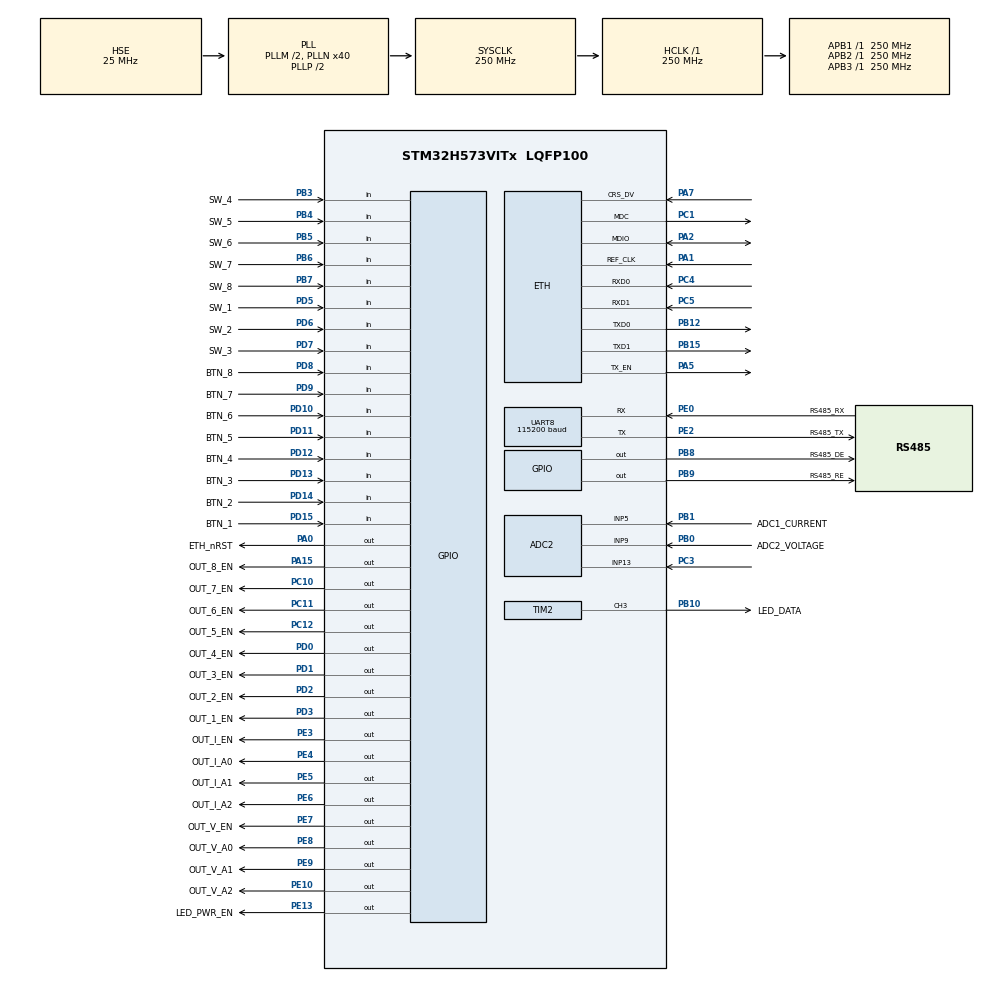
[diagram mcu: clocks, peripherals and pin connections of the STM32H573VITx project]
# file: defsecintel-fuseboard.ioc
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ADC1.Channel-1\#ChannelRegularConversion=ADC_CHANNEL_VREFINT
ADC1.Channel-2\#ChannelRegularConversion=ADC_CHANNEL_VREFINT
ADC1.Channel-3\#ChannelRegularConversion=ADC_CHANNEL_VREFINT
ADC1.Channel-4\#ChannelRegularConversion=ADC_CHANNEL_TEMPSENSOR
ADC1.ClockPrescaler=ADC_CLOCK_ASYNC_DIV4
ADC1.ContinuousConvMode=DISABLE
ADC1.DMAAccessModeView=ENABLE
ADC1.DMAContinuousRequests=ENABLE
ADC1.DiscontinuousConvMode=DISABLE
ADC1.EOCSelection=ADC_EOC_SEQ_CONV
ADC1.ExternalTrigConv=ADC_EXTERNALTRIG_T3_TRGO
ADC1.ExternalTrigConvEdge=ADC_EXTERNALTRIGCONVEDGE_RISING
ADC1.Mode=ADC_DUALMODE_REGSIMULT
ADC1.MonitoredBy-1\#ChannelRegularConversion=__NULL
ADC1.MonitoredBy-2\#ChannelRegularConversion=__NULL
ADC1.MonitoredBy-3\#ChannelRegularConversion=__NULL
ADC1.MonitoredBy-4\#ChannelRegularConversion=__NULL
ADC1.NbrOfConversion=4
ADC1.NbrOfConversionFlag=1
ADC1.OffsetNumber-1\#ChannelRegularConversion=ADC_OFFSET_NONE
ADC1.OffsetNumber-2\#ChannelRegularConversion=ADC_OFFSET_NONE
ADC1.OffsetNumber-3\#ChannelRegularConversion=ADC_OFFSET_NONE
ADC1.OffsetNumber-4\#ChannelRegularConversion=ADC_OFFSET_NONE
ADC1.Overrun=ADC_OVR_DATA_OVERWRITTEN
ADC1.OversamplingMode=ENABLE
ADC1.Rank-1\#ChannelRegularConversion=1
ADC1.Rank-2\#ChannelRegularConversion=2
ADC1.Rank-3\#ChannelRegularConversion=3
ADC1.Rank-4\#ChannelRegularConversion=4
ADC1.Ratio=ADC_OVERSAMPLING_RATIO_8
ADC1.RightBitShift=ADC_RIGHTBITSHIFT_3
ADC1.SamplingMode=ADC_SAMPLING_MODE_NORMAL
ADC1.SamplingTime-1\#ChannelRegularConversion=ADC_SAMPLETIME_247CYCLES_5
ADC1.SamplingTime-2\#ChannelRegularConversion=ADC_SAMPLETIME_247CYCLES_5
ADC1.SamplingTime-3\#ChannelRegularConversion=ADC_SAMPLETIME_247CYCLES_5
ADC1.SamplingTime-4\#ChannelRegularConversion=ADC_SAMPLETIME_247CYCLES_5
ADC1.master=1
ADC2.Channel-0\#ChannelRegularConversion=ADC_CHANNEL_9
ADC2.Channel-1\#ChannelRegularConversion=ADC_CHANNEL_5
ADC2.Channel-2\#ChannelRegularConversion=ADC_CHANNEL_13
ADC2.Channel-3\#ChannelRegularConversion=ADC_CHANNEL_5
ADC2.ClockPrescaler=ADC_CLOCK_ASYNC_DIV4
ADC2.DMAAccessModeView=ENABLE
ADC2.DMAContinuousRequests=ENABLE
ADC2.EOCSelection=ADC_EOC_SEQ_CONV
ADC2.Mode=ADC_DUALMODE_REGSIMULT
ADC2.MonitoredBy-0\#ChannelRegularConversion=__NULL
ADC2.MonitoredBy-1\#ChannelRegularConversion=__NULL
ADC2.MonitoredBy-2\#ChannelRegularConversion=__NULL
ADC2.MonitoredBy-3\#ChannelRegularConversion=__NULL
ADC2.NbrOfConversion=4
ADC2.NbrOfConversionFlag=1
ADC2.OffsetNumber-0\#ChannelRegularConversion=ADC_OFFSET_NONE
ADC2.OffsetNumber-1\#ChannelRegularConversion=ADC_OFFSET_NONE
ADC2.OffsetNumber-2\#ChannelRegularConversion=ADC_OFFSET_NONE
ADC2.OffsetNumber-3\#ChannelRegularConversion=ADC_OFFSET_NONE
ADC2.Overrun=ADC_OVR_DATA_OVERWRITTEN
ADC2.OversamplingMode=ENABLE
ADC2.Rank-0\#ChannelRegularConversion=1
ADC2.Rank-1\#ChannelRegularConversion=2
ADC2.Rank-2\#ChannelRegularConversion=3
ADC2.Rank-3\#ChannelRegularConversion=4
ADC2.Ratio=ADC_OVERSAMPLING_RATIO_8
ADC2.RightBitShift=ADC_RIGHTBITSHIFT_3
ADC2.SamplingTime-0\#ChannelRegularConversion=ADC_SAMPLETIME_247CYCLES_5
ADC2.SamplingTime-1\#ChannelRegularConversion=ADC_SAMPLETIME_247CYCLES_5
ADC2.SamplingTime-2\#ChannelRegularConversion=ADC_SAMPLETIME_247CYCLES_5
ADC2.SamplingTime-3\#ChannelRegularConversion=ADC_SAMPLETIME_247CYCLES_5
BOOTPATH.BootPathName=LEGACY
BOOTPATH.UserSelectedBootPath=LEGACY
CORTEX_M33_NS.AccessPermission-Cortex_Memory_Protection_Unit_Region0_Settings=MPU_REGION_ALL_RO
CORTEX_M33_NS.AccessPermission-Cortex_Memory_Protection_Unit_Region1_Settings=MPU_REGION_ALL_RW
CORTEX_M33_NS.AllocateAttribute-Cortex_Memory_Protection_Unit_Region0_Settings=MPU_R_ALLOCATE
CORTEX_M33_NS.AllocateAttribute-Cortex_Memory_Protection_Unit_Region1_Settings=MPU_NO_ALLOCATE
CORTEX_M33_NS.AttributesIndex-Cortex_Memory_Protection_Unit_Region1_Settings=MPU_ATTRIBUTES_NUMBER1
CORTEX_M33_NS.BaseAddress-Cortex_Memory_Protection_Unit_Region0_Settings=0x08fff800
CORTEX_M33_NS.BaseAddress-Cortex_Memory_Protection_Unit_Region1_Settings=0x9000000
CORTEX_M33_NS.DisableExec-Cortex_Memory_Protection_Unit_Region0_Settings=MPU_INSTRUCTION_ACCESS_DISABLE
CORTEX_M33_NS.DisableExec-Cortex_Memory_Protection_Unit_Region1_Settings=MPU_INSTRUCTION_ACCESS_DISABLE
CORTEX_M33_NS.Enable-Cortex_Memory_Protection_Unit_Region0_Settings=MPU_REGION_ENABLE
CORTEX_M33_NS.Enable-Cortex_Memory_Protection_Unit_Region1_Settings=MPU_REGION_ENABLE
CORTEX_M33_NS.IsShareable-Cortex_Memory_Protection_Unit_Region0_Settings=MPU_ACCESS_OUTER_SHAREABLE
CORTEX_M33_NS.LimitAddress-Cortex_Memory_Protection_Unit_Region0_Settings=0x08fff900
CORTEX_M33_NS.LimitAddress-Cortex_Memory_Protection_Unit_Region1_Settings=0x9017FFF
CORTEX_M33_NS.MPU_Control=MPU_PRIVILEGED_DEFAULT
CORTEX_M33_NS.TransientAttribute-Cortex_Memory_Protection_Unit_Region1_Settings=MPU_NON_TRANSIENT
CORTEX_M33_NS.userName=CORTEX_M33
CRC.InputDataFormat=CRC_INPUTDATA_FORMAT_WORDS
ETH.ETH_RX_DESC_CNT=16
ETH.ETH_TX_DESC_CNT=16
ETH.MACAddr=04\:7B\:CB\:96\:6B\:A4
ETH.MediaInterface=HAL_ETH_RMII_MODE
FLASH.B1_BLOCK_active=true
FLASH.B1_endSector=127
FLASH.B1_startSector=120
FLASH.B2_BLOCK_active=true
FLASH.B2_Bank=FLASH_BANK_2
FLASH.B2_endSector=127
FLASH.B2_startSector=120
FLASH.EDATA1size=8
FLASH.EDATA2size=8
FLASH.OB_EDATA1_active=true
FLASH.OB_EDATA2_active=true
FLASH.OB_OTP_LOCK_active=false
GPDMA1.CIRCULARMODE_GPDMACH0=ENABLE
GPDMA1.CIRCULARMODE_GPDMACH1=ENABLE
GPDMA1.CIRCULARMODE_GPDMACH2=ENABLE
GPDMA1.CIRCULARMODE_GPDMACH3=DISABLE
GPDMA1.ChannelPRIV_GPDMACH0=DMA_CHANNEL_NPRIV
GPDMA1.DATAHANDLING_GPDMACH3=ENABLE
GPDMA1.DESTDATAWIDTH_GPDMACH0=DMA_DEST_DATAWIDTH_BYTE
GPDMA1.DESTDATAWIDTH_GPDMACH1=DMA_DEST_DATAWIDTH_WORD
GPDMA1.DESTDATAWIDTH_GPDMACH3=DMA_DEST_DATAWIDTH_WORD
GPDMA1.DESTINC_GPDMACH1=DMA_DINC_INCREMENTED
GPDMA1.DESTINC_GPDMACH3=DMA_DINC_INCREMENTED
GPDMA1.DIRECTION_GPDMACH0=DMA_MEMORY_TO_PERIPH
GPDMA1.IPHANDLE_GPDMACH0-SIMPLEREQUEST_GPDMACH0=__NULL
GPDMA1.IPHANDLE_GPDMACH1-SIMPLEREQUEST_GPDMACH1=__NULL
GPDMA1.IPHANDLE_GPDMACH2-SIMPLEREQUEST_GPDMACH2=__NULL
GPDMA1.PRIORITY_GPDMACH3=DMA_LOW_PRIORITY_MID_WEIGHT
GPDMA1.PRIORITY_LL_CIRCULAR_GPDMACH0=DMA_LOW_PRIORITY_HIGH_WEIGHT
GPDMA1.REQUEST_GPDMACH0=GPDMA1_REQUEST_TIM2_CH3
GPDMA1.REQUEST_GPDMACH1=GPDMA1_REQUEST_ADC1
GPDMA1.REQUEST_GPDMACH2=GPDMA1_REQUEST_ADC2
GPDMA1.SRCDATAWIDTH_GPDMACH0=DMA_SRC_DATAWIDTH_BYTE
GPDMA1.SRCDATAWIDTH_GPDMACH1=DMA_SRC_DATAWIDTH_WORD
GPDMA1.SRCDATAWIDTH_GPDMACH3=DMA_SRC_DATAWIDTH_WORD
GPDMA1.SRCINC_GPDMACH0=DMA_SINC_INCREMENTED
GPDMA1.SRCINC_GPDMACH3=DMA_SINC_INCREMENTED
GPDMA1.TRANSFERALLOCATEDPORTDEST_GPDMACH3=DMA_DEST_ALLOCATED_PORT1
GPDMA1.TRANSFERALLOCATEDPORTSRC_GPDMACH3=DMA_SRC_ALLOCATED_PORT1
GPDMA1.TRIGGERPOLARITY_GPDMACH3=DMA_TRIG_POLARITY_MASKED
Mcu.Family=STM32H5
Mcu.Name=STM32H573VITx
Mcu.Package=LQFP100
NETXDUO.ETH_ON=1
NETXDUO.Initialize_ICMP_protocol=true
NETXDUO.Initialize_TCP_protocol=true
NETXDUO.LAN_8742=1
NETXDUO.NX_APP_IP_INSTANCE_THREAD_SIZE=2*1024
NETXDUO.NX_APP_MEM_POOL_SIZE=40960
NETXDUO.NX_APP_PACKET_POOL_SIZE=10
NETXDUO.NX_APP_THREAD_STACK_SIZE=2*1024
NETXDUO.NX_DISABLE_IP_RX_CHECKSUM=false
NETXDUO.NX_DISABLE_RX_SIZE_CHECKING=false
NETXDUO.NX_DISABLE_UDP_RX_CHECKSUM=false
NETXDUO.NX_DISABLE_UDP_TX_CHECKSUM=false
NETXDUO.NX_ENABLE_TCP_KEEPALIVE=true
NETXDUO.NX_TCP_KEEPALIVE_INITIAL=120
NETXDUO.NX_TCP_KEEPALIVE_RETRY=120
NETXDUO.NetXDuo_Application_Thread_Name=App_Main_Thread_Entry
NETXDUO.NetXDuo_Generate_Init_Code=true
NVIC.ETH_IRQn=true\:5\:0\:true\:false\:true\:false\:true\:true\:true
NVIC.FLASH_IRQn=true\:8\:0\:true\:false\:true\:false\:true\:true\:true
NVIC.GPDMA1_Channel0_IRQn=true\:0\:0\:true\:false\:true\:true\:false\:true\:true
NVIC.GPDMA1_Channel1_IRQn=true\:0\:0\:true\:false\:true\:true\:false\:true\:true
NVIC.GPDMA1_Channel2_IRQn=true\:0\:0\:false\:false\:true\:true\:false\:true\:true
NVIC.PriorityGroup=NVIC_PRIORITYGROUP_4
NVIC.TIM3_IRQn=true\:5\:0\:true\:false\:true\:false\:true\:true\:true
NVIC.TIM6_IRQn=true\:15\:0\:true\:false\:true\:false\:false\:true\:true
NVIC.TimeBase=TIM6_IRQn
NVIC.TimeBaseIP=TIM6
NVIC.UART8_IRQn=true\:6\:0\:true\:false\:true\:false\:true\:true\:true
NVIC.WWDG_IRQn=true\:0\:0\:false\:false\:true\:false\:true\:true\:true
NetXDuo.BSP.number=1
NetXDuo0.BSP.STBoard=false
NetXDuo0.BSP.api=BSP_COMPONENT_DRIVER
NetXDuo0.BSP.component=lan8742
NetXDuo0.BSP.instance=lan8742
NetXDuo0.BSP.name=LAN_Component
NetXDuo0.BSP.semaphore=SEMA_lan8742
NetXDuo0.BSP.solution=lan8742
PA0.GPIO_Label=ETH_nRST
PA0.PinState=GPIO_PIN_RESET
PA0.Signal=GPIO_Output
PA1.GPIO_Speed_Default_HIGH=GPIO_SPEED_FREQ_VERY_HIGH
PA1.Mode=RMII
PA1.Signal=ETH_REF_CLK
PA13(JTMS/SWDIO).Mode=Serial_Wire
PA13(JTMS/SWDIO).Signal=DEBUG_JTMS-SWDIO
PA14(JTCK/SWCLK).Mode=Serial_Wire
PA14(JTCK/SWCLK).Signal=DEBUG_JTCK-SWCLK
PA15(JTDI).GPIO_Label=OUT_8_EN
PA15(JTDI).GPIO_ModeDefaultOutputPP=GPIO_MODE_OUTPUT_PP
PA15(JTDI).GPIO_PuPd=GPIO_NOPULL
PA15(JTDI).GPIO_Speed=GPIO_SPEED_FREQ_LOW
PA15(JTDI).PinState=GPIO_PIN_RESET
PA15(JTDI).Signal=GPIO_Output
PA2.GPIO_Speed_Default_HIGH=GPIO_SPEED_FREQ_VERY_HIGH
PA2.Mode=RMII
PA2.Signal=ETH_MDIO
PA5.GPIO_PuPd=GPIO_NOPULL
PA5.GPIO_Speed_Default_HIGH=GPIO_SPEED_FREQ_VERY_HIGH
PA5.Mode=RMII
PA5.Signal=ETH_TX_EN
PA7.GPIO_PuPd=GPIO_NOPULL
PA7.GPIO_Speed_Default_HIGH=GPIO_SPEED_FREQ_VERY_HIGH
PA7.Mode=RMII
PA7.Signal=ETH_CRS_DV
PB0.GPIO_Label=ADC2_VOLTAGE
PB0.Signal=SharedAnalog_PB0
PB1.GPIO_Label=ADC1_CURRENT
PB1.Signal=ADCx_INP5
PB10.GPIO_Label=LED_DATA
PB10.GPIO_PuPd=GPIO_NOPULL
PB10.GPIO_Speed=GPIO_SPEED_FREQ_LOW
PB10.Signal=S_TIM2_CH3
PB12.GPIO_PuPd=GPIO_NOPULL
PB12.GPIO_Speed_Default_HIGH=GPIO_SPEED_FREQ_VERY_HIGH
PB12.Mode=RMII
PB12.Signal=ETH_TXD0
PB15.GPIO_PuPd=GPIO_NOPULL
PB15.GPIO_Speed_Default_HIGH=GPIO_SPEED_FREQ_VERY_HIGH
PB15.Mode=RMII
PB15.Signal=ETH_TXD1
PB3(JTDO/TRACESWO).GPIO_Label=SW_4
PB3(JTDO/TRACESWO).GPIO_Mode=GPIO_MODE_INPUT
PB3(JTDO/TRACESWO).GPIO_PuPd=GPIO_PULLDOWN
PB3(JTDO/TRACESWO).PinAttribute=Free
PB3(JTDO/TRACESWO).Signal=GPIO_Input
PB4(NJTRST).GPIO_Label=SW_5
PB4(NJTRST).GPIO_Mode=GPIO_MODE_INPUT
PB4(NJTRST).GPIO_PuPd=GPIO_PULLDOWN
PB4(NJTRST).PinAttribute=Free
PB4(NJTRST).Signal=GPIO_Input
PB5.GPIO_Label=SW_6
PB5.GPIO_Mode=GPIO_MODE_INPUT
PB5.GPIO_PuPd=GPIO_PULLDOWN
PB5.PinAttribute=Free
PB5.Signal=GPIO_Input
PB6.GPIO_Label=SW_7
PB6.GPIO_Mode=GPIO_MODE_INPUT
PB6.GPIO_PuPd=GPIO_PULLDOWN
PB6.PinAttribute=Free
PB6.Signal=GPIO_Input
PB7.GPIO_Label=SW_8
PB7.GPIO_Mode=GPIO_MODE_INPUT
PB7.GPIO_PuPd=GPIO_PULLDOWN
PB7.PinAttribute=Free
PB7.Signal=GPIO_Input
PB8.GPIO_Label=RS485_DE
PB8.Signal=GPIO_Output
PB9.GPIO_Label=RS485_RE
PB9.PinAttribute=Free
PB9.Signal=GPIO_Output
PC1.GPIO_Speed_Default_HIGH=GPIO_SPEED_FREQ_VERY_HIGH
PC1.Mode=RMII
PC1.Signal=ETH_MDC
PC10.GPIO_Label=OUT_7_EN
PC10.GPIO_ModeDefaultOutputPP=GPIO_MODE_OUTPUT_PP
PC10.GPIO_PuPd=GPIO_NOPULL
PC10.GPIO_Speed=GPIO_SPEED_FREQ_LOW
PC10.PinState=GPIO_PIN_RESET
PC10.Signal=GPIO_Output
PC11.GPIO_Label=OUT_6_EN
PC11.GPIO_ModeDefaultOutputPP=GPIO_MODE_OUTPUT_PP
PC11.GPIO_PuPd=GPIO_NOPULL
PC11.GPIO_Speed=GPIO_SPEED_FREQ_LOW
PC11.PinState=GPIO_PIN_RESET
PC11.Signal=GPIO_Output
PC12.GPIO_Label=OUT_5_EN
PC12.GPIO_ModeDefaultOutputPP=GPIO_MODE_OUTPUT_PP
PC12.GPIO_PuPd=GPIO_NOPULL
PC12.GPIO_Speed=GPIO_SPEED_FREQ_LOW
PC12.PinState=GPIO_PIN_RESET
PC12.Signal=GPIO_Output
PC3.Signal=SharedAnalog_PC3
PC4.GPIO_PuPd=GPIO_NOPULL
PC4.GPIO_Speed_Default_HIGH=GPIO_SPEED_FREQ_VERY_HIGH
PC4.Mode=RMII
PC4.Signal=ETH_RXD0
PC5.GPIO_PuPd=GPIO_NOPULL
PC5.GPIO_Speed_Default_HIGH=GPIO_SPEED_FREQ_VERY_HIGH
PC5.Mode=RMII
PC5.Signal=ETH_RXD1
PD0.GPIO_Label=OUT_4_EN
PD0.GPIO_ModeDefaultOutputPP=GPIO_MODE_OUTPUT_PP
PD0.GPIO_PuPd=GPIO_NOPULL
PD0.GPIO_Speed=GPIO_SPEED_FREQ_LOW
PD0.PinState=GPIO_PIN_RESET
PD0.Signal=GPIO_Output
PD1.GPIO_Label=OUT_3_EN
PD1.GPIO_ModeDefaultOutputPP=GPIO_MODE_OUTPUT_PP
PD1.GPIO_PuPd=GPIO_NOPULL
PD1.GPIO_Speed=GPIO_SPEED_FREQ_LOW
PD1.PinState=GPIO_PIN_RESET
PD1.Signal=GPIO_Output
PD10.GPIO_Label=BTN_6
PD10.GPIO_Mode=GPIO_MODE_INPUT
PD10.GPIO_PuPd=GPIO_PULLDOWN
PD10.Signal=GPIO_Input
PD11.GPIO_Label=BTN_5
PD11.GPIO_Mode=GPIO_MODE_INPUT
PD11.GPIO_PuPd=GPIO_PULLDOWN
PD11.Signal=GPIO_Input
PD12.GPIO_Label=BTN_4
PD12.GPIO_Mode=GPIO_MODE_INPUT
PD12.GPIO_PuPd=GPIO_PULLDOWN
PD12.Signal=GPIO_Input
PD13.GPIO_Label=BTN_3
PD13.GPIO_Mode=GPIO_MODE_INPUT
PD13.GPIO_PuPd=GPIO_PULLDOWN
PD13.Signal=GPIO_Input
PD14.GPIO_Label=BTN_2
PD14.GPIO_Mode=GPIO_MODE_INPUT
PD14.GPIO_PuPd=GPIO_PULLDOWN
PD14.Signal=GPIO_Input
PD15.GPIO_Label=BTN_1
PD15.GPIO_Mode=GPIO_MODE_INPUT
PD15.GPIO_PuPd=GPIO_PULLDOWN
PD15.Signal=GPIO_Input
PD2.GPIO_Label=OUT_2_EN
PD2.GPIO_ModeDefaultOutputPP=GPIO_MODE_OUTPUT_PP
PD2.GPIO_PuPd=GPIO_NOPULL
PD2.GPIO_Speed=GPIO_SPEED_FREQ_LOW
PD2.PinAttribute=Free
PD2.PinState=GPIO_PIN_RESET
PD2.Signal=GPIO_Output
PD3.GPIO_Label=OUT_1_EN
PD3.PinAttribute=Free
PD3.Signal=GPIO_Output
PD5.GPIO_Label=SW_1
PD5.GPIO_Mode=GPIO_MODE_INPUT
PD5.GPIO_PuPd=GPIO_PULLDOWN
PD5.PinAttribute=Free
PD5.Signal=GPIO_Input
PD6.GPIO_Label=SW_2
PD6.GPIO_Mode=GPIO_MODE_INPUT
PD6.GPIO_PuPd=GPIO_PULLDOWN
PD6.PinAttribute=Free
PD6.Signal=GPIO_Input
PD7.GPIO_Label=SW_3
PD7.GPIO_Mode=GPIO_MODE_INPUT
PD7.GPIO_PuPd=GPIO_PULLDOWN
PD7.PinAttribute=Free
PD7.Signal=GPIO_Input
PD8.GPIO_Label=BTN_8
PD8.GPIO_Mode=GPIO_MODE_INPUT
PD8.GPIO_PuPd=GPIO_PULLDOWN
PD8.Signal=GPIO_Input
PD9.GPIO_Label=BTN_7
PD9.GPIO_Mode=GPIO_MODE_INPUT
PD9.GPIO_PuPd=GPIO_PULLDOWN
PD9.Signal=GPIO_Input
PE0.GPIO_Label=RS485_RX
PE0.GPIO_PuPd=GPIO_PULLUP
PE0.GPIO_Speed=GPIO_SPEED_FREQ_LOW
PE0.Mode=Asynchronous
PE0.PinAttribute=Free
PE0.Signal=UART8_RX
PE10.GPIO_Label=OUT_V_A2
PE10.GPIO_ModeDefaultOutputPP=GPIO_MODE_OUTPUT_PP
PE10.GPIO_PuPd=GPIO_PULLDOWN
PE10.GPIO_Speed=GPIO_SPEED_FREQ_LOW
PE10.PinState=GPIO_PIN_RESET
PE10.Signal=GPIO_Output
PE13.GPIO_Label=LED_PWR_EN
PE13.PinState=GPIO_PIN_SET
PE13.Signal=GPIO_Output
PE2.GPIO_Label=RS485_TX
PE2.GPIO_PuPd=GPIO_PULLUP
PE2.GPIO_Speed=GPIO_SPEED_FREQ_LOW
PE2.Mode=Asynchronous
PE2.Signal=UART8_TX
PE3.GPIO_Label=OUT_I_EN
PE3.GPIO_ModeDefaultOutputPP=GPIO_MODE_OUTPUT_PP
PE3.GPIO_PuPd=GPIO_PULLDOWN
PE3.GPIO_Speed=GPIO_SPEED_FREQ_LOW
PE3.PinState=GPIO_PIN_RESET
PE3.Signal=GPIO_Output
PE4.GPIO_Label=OUT_I_A0
PE4.GPIO_ModeDefaultOutputPP=GPIO_MODE_OUTPUT_PP
PE4.GPIO_PuPd=GPIO_PULLDOWN
PE4.GPIO_Speed=GPIO_SPEED_FREQ_LOW
PE4.PinState=GPIO_PIN_RESET
PE4.Signal=GPIO_Output
PE5.GPIO_Label=OUT_I_A1
PE5.GPIO_ModeDefaultOutputPP=GPIO_MODE_OUTPUT_PP
PE5.GPIO_PuPd=GPIO_PULLDOWN
PE5.GPIO_Speed=GPIO_SPEED_FREQ_LOW
PE5.PinState=GPIO_PIN_RESET
PE5.Signal=GPIO_Output
PE6.GPIO_Label=OUT_I_A2
PE6.GPIO_ModeDefaultOutputPP=GPIO_MODE_OUTPUT_PP
PE6.GPIO_PuPd=GPIO_PULLDOWN
PE6.GPIO_Speed=GPIO_SPEED_FREQ_LOW
PE6.PinState=GPIO_PIN_RESET
PE6.Signal=GPIO_Output
PE7.GPIO_Label=OUT_V_EN
PE7.GPIO_ModeDefaultOutputPP=GPIO_MODE_OUTPUT_PP
PE7.GPIO_PuPd=GPIO_PULLDOWN
PE7.GPIO_Speed=GPIO_SPEED_FREQ_LOW
PE7.PinState=GPIO_PIN_RESET
PE7.Signal=GPIO_Output
PE8.GPIO_Label=OUT_V_A0
PE8.GPIO_ModeDefaultOutputPP=GPIO_MODE_OUTPUT_PP
PE8.GPIO_PuPd=GPIO_PULLDOWN
PE8.GPIO_Speed=GPIO_SPEED_FREQ_LOW
PE8.PinState=GPIO_PIN_RESET
PE8.Signal=GPIO_Output
PE9.GPIO_Label=OUT_V_A1
PE9.GPIO_ModeDefaultOutputPP=GPIO_MODE_OUTPUT_PP
PE9.GPIO_PuPd=GPIO_PULLDOWN
PE9.GPIO_Speed=GPIO_SPEED_FREQ_LOW
PE9.PinState=GPIO_PIN_RESET
PE9.Signal=GPIO_Output
PH0-OSC_IN(PH0).Mode=HSE-External-Oscillator
PH0-OSC_IN(PH0).Signal=RCC_OSC_IN
PH1-OSC_OUT(PH1).Mode=HSE-External-Oscillator
PH1-OSC_OUT(PH1).Signal=RCC_OSC_OUT
ProjectManager.HeapSize=0x400
ProjectManager.StackSize=0x800
ProjectManager.TargetToolchain=STM32CubeIDE
RCC.ADCCLockSelection=RCC_ADCDACCLKSOURCE_HSE
RCC.ADCFreq_Value=25000000
RCC.AHBFreq_Value=250000000
RCC.APB1Freq_Value=250000000
RCC.APB1TimFreq_Value=250000000
RCC.APB2Freq_Value=250000000
RCC.APB2TimFreq_Value=250000000
RCC.APB3Freq_Value=250000000
RCC.CSI_VALUE=4000000
RCC.CortexFreq_Value=250000000
RCC.EPOD_VALUE=25000000
RCC.FLatency-AdvancedSettings=FLASH_LATENCY_5
RCC.HCLKFreq_Value=250000000
RCC.HSE_VALUE=25000000
RCC.HSI48_VALUE=48000000
RCC.HSI_VALUE=64000000
RCC.LSE_VALUE=32768
RCC.LSIRC_VALUE=32000
RCC.PLL1Q=10
RCC.PLL2FRACN=0
RCC.PLL2M=2
RCC.PLL2N=40
RCC.PLL2R=80
RCC.PLL2Source=RCC_PLL2_SOURCE_HSE
RCC.PLL2_VCI_Range-AdvancedSettings=RCC_PLL2_VCIRANGE_0
RCC.PLL3FRACN=0
RCC.PLL3M=2
RCC.PLL3N=40
RCC.PLL3Source=RCC_PLL3_SOURCE_HSE
RCC.PLLFRACN=0
RCC.PLLM=2
RCC.PLLN=40
RCC.PLLSourceVirtual=RCC_PLL1_SOURCE_HSE
RCC.SYSCLKFreq_VALUE=250000000
RCC.SYSCLKSource=RCC_SYSCLKSOURCE_PLLCLK
RCC.USBFreq_Value=48000000
RCC.VCOOutputFreq_Value=500000000
SH.ADCx_INP5.0=ADC1_INP5
SH.ADCx_INP5.1=ADC2_INP5,IN5-Single-Ended
SH.S_TIM2_CH3.0=TIM2_CH3,PWM Generation3 CH3
SH.SharedAnalog_PB0.0=ADC1_INP9
SH.SharedAnalog_PB0.1=ADC1_INN5
SH.SharedAnalog_PB0.2=ADC2_INP9,IN9-Single-Ended
SH.SharedAnalog_PC3.0=ADC2_INN12
SH.SharedAnalog_PC3.1=ADC2_INP13,IN13-Single-Ended
THREADX.TX_APP_CREATION=0
THREADX.TX_APP_GENERATE_INIT_CODE=true
THREADX.TX_APP_MEM_POOL_SIZE=40960
THREADX.TX_APP_MSG_QUEUE_CREATION=0
THREADX.TX_APP_STACK_SIZE=2*1024
THREADX.TX_APP_THREAD_ENTRY=App_Main_Thread_Entry
THREADX.TX_TIMER_TICKS_PER_SECOND=1000
TIM2.AutoReloadPreload=TIM_AUTORELOAD_PRELOAD_ENABLE
TIM2.Channel-PWM\ Generation3\ CH3=TIM_CHANNEL_3
TIM2.Dithering=Disable
TIM2.OC3Preload_PWM=ENABLE
TIM2.OCFastMode_PWM-PWM\ Generation3\ CH3=TIM_OCFAST_DISABLE
TIM2.OCPolarity_3=TIM_OCPOLARITY_HIGH
TIM2.PeriodNoDither=155
TIM2.Prescaler=1
TIM2.PulseNoDither_3=0
TIM3.PeriodNoDither=9
TIM3.TIM_MasterOutputTrigger=TIM_TRGO_UPDATE
UART8.BaudRate=115200
UART8.DMADisableonRxErrorParam=UART_ADVFEATURE_DMA_ENABLEONRXERROR
UART8.FIFOMode=FIFOMODE_ENABLE
UART8.OneBitSampling=UART_ONE_BIT_SAMPLE_ENABLE
UART8.OverrunDisableParam=UART_ADVFEATURE_OVERRUN_ENABLE
UART8.Parity=PARITY_NONE
UART8.RXFIFOThreshold=RXFIFO_THRESHOLD_FULL
UART8.RxPinLevelInvertParam=UART_ADVFEATURE_RXINV_DISABLE
UART8.SwapParam=UART_ADVFEATURE_SWAP_DISABLE
UART8.TXFIFOThreshold=TXFIFO_THRESHOLD_EMPTY
UART8.TxPinLevelInvertParam=UART_ADVFEATURE_TXINV_DISABLE
UART8.WordLength=WORDLENGTH_8B
VP_ADC1_TempSens_Input.Mode=IN-TempSens
VP_ADC1_Vref_Input.Mode=IN-Vrefint
VP_BOOTPATH_VS_BOOTPATH.Mode=BP_Activate
VP_CORTEX_M33_NS_VS_Hclk.Mode=Hclk_Mode
VP_CRC_VS_CRC.Mode=CRC_Activate
VP_FLASH_SIG_Activate_FlashIP.Mode=Activate_FlashIP
VP_GPDMA1_VS_GPDMACH0.Mode=SIMPLEREQUEST_GPDMACH0
VP_GPDMA1_VS_GPDMACH1.Mode=SIMPLEREQUEST_GPDMACH1
VP_GPDMA1_VS_GPDMACH2.Mode=SIMPLEREQUEST_GPDMACH2
VP_ICACHE_VS_ICACHE.Mode=DefaultMode
VP_MEMORYMAP_VS_MEMORYMAP.Mode=CurAppReg
VP_NETXDUO_VS_AddonsOoDHCP.Mode=Addons_DHCP_Client
VP_NETXDUO_VS_AddonsOomDNS.Mode=Addons_mDNS
VP_NETXDUO_VS_EthernetOoPhyOoInterface.Mode=LAN8742_Phy_Interface
VP_NETXDUO_VS_NXOoCore.Mode=NX_Core
VP_NETXDUO_VS_NetworkOoInterface.Mode=Ethernet_Interface
VP_PWR_VS_DBSignals.Mode=DisableDeadBatterySignals
VP_PWR_VS_LPOM.Mode=PowerOptimisation
VP_PWR_VS_SECSignals.Mode=Security/Privilege
VP_SYS_VS_tim6.Mode=TIM6
VP_THREADX_VS_RTOSJjThreadXJjCoreJjDefault.Mode=Core_Default
VP_TIM2_VS_ClockSourceINT.Mode=Internal
VP_TIM3_VS_ClockSourceINT.Mode=Internal
VP_TIM3_VS_OPM.Mode=OPM_bit
VP_VREFBUF_V_VREFBUF.Mode=ExternalMode
VP_WWDG_VS_WWDG.Mode=WWDG_Activate
WWDG.Counter=127
WWDG.EWIMode=WWDG_EWI_ENABLE
WWDG.Prescaler=WWDG_PRESCALER_64
WWDG.Window=94
board=custom

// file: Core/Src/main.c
/* USER CODE BEGIN Header */
/**
  ******************************************************************************
  * @file           : main.c
  * @brief          : Main program body
  ******************************************************************************
  * @attention
  *
  * Copyright (c) 2024 STMicroelectronics.
  * All rights reserved.
  *
  * This software is licensed under terms that can be found in the LICENSE file
  * in the root directory of this software component.
  * If no LICENSE file comes with this software, it is provided AS-IS.
  *
  ******************************************************************************
  */
/* USER CODE END Header */
#include "app_threadx.h"
#include "main.h"
#include "string.h"

/* USER CODE BEGIN Includes */
#include <stdbool.h>
#include <inttypes.h>
#include "dp_info.h"
#include "watchdog.h"
#include "crc.h"
#include "log.h"
/* USER CODE END Includes */

ETH_TxPacketConfigTypeDef TxConfig;
ETH_DMADescTypeDef  DMARxDscrTab[ETH_RX_DESC_CNT]; /* Ethernet Rx DMA Descriptors */
ETH_DMADescTypeDef  DMATxDscrTab[ETH_TX_DESC_CNT]; /* Ethernet Tx DMA Descriptors */

ADC_HandleTypeDef hadc1;
ADC_HandleTypeDef hadc2;
DMA_NodeTypeDef Node_GPDMA1_Channel1;
DMA_QListTypeDef List_GPDMA1_Channel1;
DMA_HandleTypeDef handle_GPDMA1_Channel1;
DMA_NodeTypeDef Node_GPDMA1_Channel2;
DMA_QListTypeDef List_GPDMA1_Channel2;
DMA_HandleTypeDef handle_GPDMA1_Channel2;

CRC_HandleTypeDef hcrc;

ETH_HandleTypeDef heth;

TIM_HandleTypeDef htim2;
TIM_HandleTypeDef htim3;
DMA_NodeTypeDef Node_GPDMA1_Channel0;
DMA_QListTypeDef List_GPDMA1_Channel0;
DMA_HandleTypeDef handle_GPDMA1_Channel0;

WWDG_HandleTypeDef hwwdg;

void SystemClock_Config(void);
static void MPU_Config(void);
static void MX_GPIO_Init(void);
static void MX_GPDMA1_Init(void);
static void MX_ETH_Init(void);
static void MX_TIM2_Init(void);
static void MX_ICACHE_Init(void);
static void MX_UART8_Init(void);
static void MX_ADC1_Init(void);
static void MX_ADC2_Init(void);
static void MX_TIM3_Init(void);
static void MX_CRC_Init(void);
static void MX_FLASH_Init(void);
static void MX_WWDG_Init(void);

int main(void)
{

  /* USER CODE BEGIN 1 */

  /* Try to read device info from OTP memory */
  dp_init_device_info();
  log_init();

  /* USER CODE END 1 */

  /* MCU Configuration--------------------------------------------------------*/

  /* MPU Configuration--------------------------------------------------------*/
  MPU_Config();

  /* Reset of all peripherals, Initializes the Flash interface and the Systick. */
  HAL_Init();

  /* Configure the system clock */
  SystemClock_Config();

  /* Initialize all configured peripherals */
  MX_GPIO_Init();
  MX_GPDMA1_Init();
  MX_ETH_Init();
  MX_TIM2_Init();
  MX_ICACHE_Init();
  MX_UART8_Init();
  MX_ADC1_Init();
  MX_ADC2_Init();
  MX_TIM3_Init();
  MX_CRC_Init();
  MX_FLASH_Init();
  MX_WWDG_Init();
  /* USER CODE BEGIN 2 */
  crc_gen_init();

  /* Print device info */
  ULOG_DEBUG("S/N: %" PRIu32 ", HW: %" PRIu32 ", MAC: %02X:%02X:%02X:%02X:%02X:%02X",
      dp_get_serial_number(), (uint32_t)dp_get_hw_revision(),
      heth.Init.MACAddr[0], heth.Init.MACAddr[1], heth.Init.MACAddr[2],
      heth.Init.MACAddr[3], heth.Init.MACAddr[4], heth.Init.MACAddr[5]);

  /* USER CODE END 2 */

  MX_ThreadX_Init();

  /* We should never get here as control is now taken by the scheduler */

  /* Infinite loop */
  while (1)
  {

  }
}

void SystemClock_Config(void)
{
  RCC_OscInitTypeDef RCC_OscInitStruct = {0};
  RCC_ClkInitTypeDef RCC_ClkInitStruct = {0};

  /** Configure the main internal regulator output voltage
  */
  __HAL_PWR_VOLTAGESCALING_CONFIG(PWR_REGULATOR_VOLTAGE_SCALE0);

  while(!__HAL_PWR_GET_FLAG(PWR_FLAG_VOSRDY)) {}

  /** Initializes the RCC Oscillators according to the specified parameters
  * in the RCC_OscInitTypeDef structure.
  */
  RCC_OscInitStruct.OscillatorType = RCC_OSCILLATORTYPE_HSE;
  RCC_OscInitStruct.HSEState = RCC_HSE_ON;
  RCC_OscInitStruct.PLL.PLLState = RCC_PLL_ON;
  RCC_OscInitStruct.PLL.PLLSource = RCC_PLL1_SOURCE_HSE;
  RCC_OscInitStruct.PLL.PLLM = 2;
  RCC_OscInitStruct.PLL.PLLN = 40;
  RCC_OscInitStruct.PLL.PLLP = 2;
  RCC_OscInitStruct.PLL.PLLQ = 10;
  RCC_OscInitStruct.PLL.PLLR = 2;
  RCC_OscInitStruct.PLL.PLLRGE = RCC_PLL1_VCIRANGE_3;
  RCC_OscInitStruct.PLL.PLLVCOSEL = RCC_PLL1_VCORANGE_WIDE;
  RCC_OscInitStruct.PLL.PLLFRACN = 0;
  if (HAL_RCC_OscConfig(&RCC_OscInitStruct) != HAL_OK)
  {
    Error_Handler();
  }

  /** Initializes the CPU, AHB and APB buses clocks
  */
  RCC_ClkInitStruct.ClockType = RCC_CLOCKTYPE_HCLK|RCC_CLOCKTYPE_SYSCLK
                              |RCC_CLOCKTYPE_PCLK1|RCC_CLOCKTYPE_PCLK2
                              |RCC_CLOCKTYPE_PCLK3;
  RCC_ClkInitStruct.SYSCLKSource = RCC_SYSCLKSOURCE_PLLCLK;
  RCC_ClkInitStruct.AHBCLKDivider = RCC_SYSCLK_DIV1;
  RCC_ClkInitStruct.APB1CLKDivider = RCC_HCLK_DIV1;
  RCC_ClkInitStruct.APB2CLKDivider = RCC_HCLK_DIV1;
  RCC_ClkInitStruct.APB3CLKDivider = RCC_HCLK_DIV1;

  if (HAL_RCC_ClockConfig(&RCC_ClkInitStruct, FLASH_LATENCY_5) != HAL_OK)
  {
    Error_Handler();
  }

  /** Configure the programming delay
  */
  __HAL_FLASH_SET_PROGRAM_DELAY(FLASH_PROGRAMMING_DELAY_2);
}

static void MX_ADC1_Init(void)
{

  ADC_MultiModeTypeDef multimode = {0};
  ADC_ChannelConfTypeDef sConfig = {0};

  /** Common config
  */
  hadc1.Instance = ADC1;
  hadc1.Init.ClockPrescaler = ADC_CLOCK_ASYNC_DIV4;
  hadc1.Init.Resolution = ADC_RESOLUTION_12B;
  hadc1.Init.DataAlign = ADC_DATAALIGN_RIGHT;
  hadc1.Init.ScanConvMode = ADC_SCAN_ENABLE;
  hadc1.Init.EOCSelection = ADC_EOC_SEQ_CONV;
  hadc1.Init.LowPowerAutoWait = DISABLE;
  hadc1.Init.ContinuousConvMode = DISABLE;
  hadc1.Init.NbrOfConversion = 4;
  hadc1.Init.DiscontinuousConvMode = DISABLE;
  hadc1.Init.ExternalTrigConv = ADC_EXTERNALTRIG_T3_TRGO;
  hadc1.Init.ExternalTrigConvEdge = ADC_EXTERNALTRIGCONVEDGE_RISING;
  hadc1.Init.DMAContinuousRequests = ENABLE;
  hadc1.Init.SamplingMode = ADC_SAMPLING_MODE_NORMAL;
  hadc1.Init.Overrun = ADC_OVR_DATA_OVERWRITTEN;
  hadc1.Init.OversamplingMode = ENABLE;
  hadc1.Init.Oversampling.Ratio = ADC_OVERSAMPLING_RATIO_8;
  hadc1.Init.Oversampling.RightBitShift = ADC_RIGHTBITSHIFT_3;
  hadc1.Init.Oversampling.TriggeredMode = ADC_TRIGGEREDMODE_SINGLE_TRIGGER;
  hadc1.Init.Oversampling.OversamplingStopReset = ADC_REGOVERSAMPLING_CONTINUED_MODE;
  if (HAL_ADC_Init(&hadc1) != HAL_OK)
  {
    Error_Handler();
  }

  /** Configure the ADC multi-mode
  */
  multimode.Mode = ADC_DUALMODE_REGSIMULT;
  multimode.DMAAccessMode = ADC_DMAACCESSMODE_12_10_BITS;
  multimode.TwoSamplingDelay = ADC_TWOSAMPLINGDELAY_1CYCLE;
  if (HAL_ADCEx_MultiModeConfigChannel(&hadc1, &multimode) != HAL_OK)
  {
    Error_Handler();
  }

  /** Configure Regular Channel
  */
  sConfig.Channel = ADC_CHANNEL_VREFINT;
  sConfig.Rank = ADC_REGULAR_RANK_1;
  sConfig.SamplingTime = ADC_SAMPLETIME_247CYCLES_5;
  sConfig.SingleDiff = ADC_SINGLE_ENDED;
  sConfig.OffsetNumber = ADC_OFFSET_NONE;
  sConfig.Offset = 0;
  if (HAL_ADC_ConfigChannel(&hadc1, &sConfig) != HAL_OK)
  {
    Error_Handler();
  }

  /** Configure Regular Channel
  */
  sConfig.Rank = ADC_REGULAR_RANK_2;
  if (HAL_ADC_ConfigChannel(&hadc1, &sConfig) != HAL_OK)
  {
    Error_Handler();
  }

  /** Configure Regular Channel
  */
  sConfig.Rank = ADC_REGULAR_RANK_3;
  if (HAL_ADC_ConfigChannel(&hadc1, &sConfig) != HAL_OK)
  {
    Error_Handler();
  }

  /** Configure Regular Channel
  */
  sConfig.Channel = ADC_CHANNEL_TEMPSENSOR;
  sConfig.Rank = ADC_REGULAR_RANK_4;
  if (HAL_ADC_ConfigChannel(&hadc1, &sConfig) != HAL_OK)
  {
    Error_Handler();
  }
  /* USER CODE BEGIN ADC1_Init 2 */
  if (HAL_ADCEx_Calibration_Start(&hadc1, sConfig.SingleDiff) != HAL_OK)
  {
    Error_Handler();
  }
  /* USER CODE END ADC1_Init 2 */

}

static void MX_ADC2_Init(void)
{

  /* USER CODE BEGIN ADC2_Init 0 */

  // TODO: EVERY TIME THAT IOC CODE IS GENERATED, IT CREATES MULTIMODE FOR BOTH ADC, ALTHOUGH IT MUST ONLY BE INITIALIZED FOR ADC1
  // MEANING YOU HAVE TO MANUALLY DELETE THE MULTIMODE INIT IN ADC2 EVERY TIME CODE IS GENERATED

  /* USER CODE END ADC2_Init 0 */

  ADC_ChannelConfTypeDef sConfig = {0};

  /** Common config
  */
  hadc2.Instance = ADC2;
  hadc2.Init.ClockPrescaler = ADC_CLOCK_ASYNC_DIV4;
  hadc2.Init.Resolution = ADC_RESOLUTION_12B;
  hadc2.Init.DataAlign = ADC_DATAALIGN_RIGHT;
  hadc2.Init.ScanConvMode = ADC_SCAN_ENABLE;
  hadc2.Init.EOCSelection = ADC_EOC_SEQ_CONV;
  hadc2.Init.LowPowerAutoWait = DISABLE;
  hadc2.Init.ContinuousConvMode = DISABLE;
  hadc2.Init.NbrOfConversion = 4;
  hadc2.Init.DiscontinuousConvMode = DISABLE;
  hadc2.Init.DMAContinuousRequests = ENABLE;
  hadc2.Init.SamplingMode = ADC_SAMPLING_MODE_NORMAL;
  hadc2.Init.Overrun = ADC_OVR_DATA_OVERWRITTEN;
  hadc2.Init.OversamplingMode = ENABLE;
  hadc2.Init.Oversampling.Ratio = ADC_OVERSAMPLING_RATIO_8;
  hadc2.Init.Oversampling.RightBitShift = ADC_RIGHTBITSHIFT_3;
  hadc2.Init.Oversampling.TriggeredMode = ADC_TRIGGEREDMODE_SINGLE_TRIGGER;
  hadc2.Init.Oversampling.OversamplingStopReset = ADC_REGOVERSAMPLING_CONTINUED_MODE;
  if (HAL_ADC_Init(&hadc2) != HAL_OK)
  {
    Error_Handler();
  }

  /** Configure Regular Channel
  */
  sConfig.Channel = ADC_CHANNEL_9;
  sConfig.Rank = ADC_REGULAR_RANK_1;
  sConfig.SamplingTime = ADC_SAMPLETIME_247CYCLES_5;
  sConfig.SingleDiff = ADC_SINGLE_ENDED;
  sConfig.OffsetNumber = ADC_OFFSET_NONE;
  sConfig.Offset = 0;
  if (HAL_ADC_ConfigChannel(&hadc2, &sConfig) != HAL_OK)
  {
    Error_Handler();
  }

  /** Configure Regular Channel
  */
  sConfig.Channel = ADC_CHANNEL_5;
  sConfig.Rank = ADC_REGULAR_RANK_2;
  if (HAL_ADC_ConfigChannel(&hadc2, &sConfig) != HAL_OK)
  {
    Error_Handler();
  }

  /** Configure Regular Channel
  */
  sConfig.Channel = ADC_CHANNEL_13;
  sConfig.Rank = ADC_REGULAR_RANK_3;
  if (HAL_ADC_ConfigChannel(&hadc2, &sConfig) != HAL_OK)
  {
    Error_Handler();
  }

  /** Configure Regular Channel
  */
  sConfig.Channel = ADC_CHANNEL_5;
  sConfig.Rank = ADC_REGULAR_RANK_4;
  if (HAL_ADC_ConfigChannel(&hadc2, &sConfig) != HAL_OK)
  {
    Error_Handler();
  }
  /* USER CODE BEGIN ADC2_Init 2 */
  if (HAL_ADCEx_Calibration_Start(&hadc2, sConfig.SingleDiff) != HAL_OK) {
    Error_Handler();
  }
  /* USER CODE END ADC2_Init 2 */

}

static void MX_CRC_Init(void)
{

  hcrc.Instance = CRC;
  hcrc.Init.DefaultPolynomialUse = DEFAULT_POLYNOMIAL_ENABLE;
  hcrc.Init.DefaultInitValueUse = DEFAULT_INIT_VALUE_ENABLE;
  hcrc.Init.InputDataInversionMode = CRC_INPUTDATA_INVERSION_NONE;
  hcrc.Init.OutputDataInversionMode = CRC_OUTPUTDATA_INVERSION_DISABLE;
  hcrc.InputDataFormat = CRC_INPUTDATA_FORMAT_WORDS;
  if (HAL_CRC_Init(&hcrc) != HAL_OK)
  {
    Error_Handler();
  }

}

static void MX_ETH_Init(void)
{

  /* USER CODE BEGIN ETH_Init 0 */
  /* Read serial number from OTP memory */
  uint32_t serial_number = dp_get_serial_number();
  /* USER CODE END ETH_Init 0 */

   static uint8_t MACAddr[6];

  heth.Instance = ETH;
  MACAddr[0] = 0x04;
  MACAddr[1] = 0x7B;
  MACAddr[2] = 0xCB;
  MACAddr[3] = 0x96;
  MACAddr[4] = 0x6B;
  MACAddr[5] = 0xA4;
  heth.Init.MACAddr = &MACAddr[0];
  heth.Init.MediaInterface = HAL_ETH_RMII_MODE;
  heth.Init.TxDesc = DMATxDscrTab;
  heth.Init.RxDesc = DMARxDscrTab;
  heth.Init.RxBuffLen = 1524;

  /* USER CODE BEGIN MACADDRESS */
  uint32_t mac_vendor_id = dp_get_mac_vendor_id();
  /* Set MAC address by vendor ID and 16-bit device serial number */
  MACAddr[0] = (mac_vendor_id >> 16) & 0xFF;
  MACAddr[1] = (mac_vendor_id >> 8) & 0xFF;
  MACAddr[2] = (mac_vendor_id & 0xFF);
  MACAddr[3] = (serial_number >> 16) & 0xFF;
  MACAddr[4] = (serial_number >> 8) & 0xFF;
  MACAddr[5] = (serial_number & 0xFF);

  /* USER CODE END MACADDRESS */

  if (HAL_ETH_Init(&heth) != HAL_OK)
  {
    Error_Handler();
  }

  memset(&TxConfig, 0 , sizeof(ETH_TxPacketConfigTypeDef));
  TxConfig.Attributes = ETH_TX_PACKETS_FEATURES_CSUM | ETH_TX_PACKETS_FEATURES_CRCPAD;
  TxConfig.ChecksumCtrl = ETH_CHECKSUM_IPHDR_PAYLOAD_INSERT_PHDR_CALC;
  TxConfig.CRCPadCtrl = ETH_CRC_PAD_INSERT;
  /* USER CODE BEGIN ETH_Init 2 */

  /* Release PHY reset after 25 ms (minimum time to wait based on LAN8742A datasheet) */
  HAL_Delay(25);
  HAL_GPIO_WritePin(ETH_nRST_GPIO_Port, ETH_nRST_Pin, GPIO_PIN_SET);

  /* USER CODE END ETH_Init 2 */

}

static void MX_FLASH_Init(void)
{

  FLASH_OBProgramInitTypeDef pOBInit = {0};
  FLASH_BBAttributesTypeDef FLASH_BBSecInitStruct = {0};

  if (HAL_FLASH_Unlock() != HAL_OK)
  {
    Error_Handler();
  }

  /* Option Bytes settings */

  if (HAL_FLASH_OB_Unlock() != HAL_OK)
  {
    Error_Handler();
  }
  pOBInit.OptionType = OPTIONBYTE_EDATA;
  pOBInit.Banks = FLASH_BANK_BOTH;
  pOBInit.EDATASize = 8;
  if (HAL_FLASHEx_OBProgram(&pOBInit) != HAL_OK)
  {
    Error_Handler();
  }
  if (HAL_FLASH_OB_Lock() != HAL_OK)
  {
    Error_Handler();
  }

  /* Block-based sector protection */

  FLASH_BBSecInitStruct.Bank = FLASH_BANK_1;
  FLASH_BBSecInitStruct.BBAttributesType = FLASH_BB_PRIV;
  FLASH_BBSecInitStruct.BBAttributes_array[0] =   0x00000000;
  FLASH_BBSecInitStruct.BBAttributes_array[1] =   0x00000000
                              ;
  FLASH_BBSecInitStruct.BBAttributes_array[2] =   0x00000000;
  FLASH_BBSecInitStruct.BBAttributes_array[3] =   0xFF000000;
  if (HAL_FLASHEx_ConfigBBAttributes(&FLASH_BBSecInitStruct) != HAL_OK)
  {
    Error_Handler();
  }
  FLASH_BBSecInitStruct.Bank = FLASH_BANK_2;
  FLASH_BBSecInitStruct.BBAttributes_array[0] =   0x00000000;
  FLASH_BBSecInitStruct.BBAttributes_array[1] =   0x00000000
                              ;
  FLASH_BBSecInitStruct.BBAttributes_array[2] =   0x00000000;
  FLASH_BBSecInitStruct.BBAttributes_array[3] =   0xFF000000;
  if (HAL_FLASHEx_ConfigBBAttributes(&FLASH_BBSecInitStruct) != HAL_OK)
  {
    Error_Handler();
  }
  if (HAL_FLASH_Lock() != HAL_OK)
  {
    Error_Handler();
  }

  /* Launch Option Bytes Loading */
  /*HAL_FLASH_OB_Launch(); */

}

static void MX_GPDMA1_Init(void)
{

  /* Peripheral clock enable */
  __HAL_RCC_GPDMA1_CLK_ENABLE();

  /* GPDMA1 interrupt Init */
    HAL_NVIC_SetPriority(GPDMA1_Channel0_IRQn, 0, 0);
    HAL_NVIC_EnableIRQ(GPDMA1_Channel0_IRQn);
    HAL_NVIC_SetPriority(GPDMA1_Channel1_IRQn, 0, 0);
    HAL_NVIC_EnableIRQ(GPDMA1_Channel1_IRQn);
    HAL_NVIC_SetPriority(GPDMA1_Channel2_IRQn, 0, 0);
    HAL_NVIC_EnableIRQ(GPDMA1_Channel2_IRQn);

}

static void MX_ICACHE_Init(void)
{

  /** Enable instruction cache (default 2-ways set associative cache)
  */
  if (HAL_ICACHE_Enable() != HAL_OK)
  {
    Error_Handler();
  }

}

static void MX_TIM2_Init(void)
{

  TIM_ClockConfigTypeDef sClockSourceConfig = {0};
  TIM_MasterConfigTypeDef sMasterConfig = {0};
  TIM_OC_InitTypeDef sConfigOC = {0};

  htim2.Instance = TIM2;
  htim2.Init.Prescaler = 1;
  htim2.Init.CounterMode = TIM_COUNTERMODE_UP;
  htim2.Init.Period = 155;
  htim2.Init.ClockDivision = TIM_CLOCKDIVISION_DIV1;
  htim2.Init.AutoReloadPreload = TIM_AUTORELOAD_PRELOAD_ENABLE;
  if (HAL_TIM_Base_Init(&htim2) != HAL_OK)
  {
    Error_Handler();
  }
  sClockSourceConfig.ClockSource = TIM_CLOCKSOURCE_INTERNAL;
  if (HAL_TIM_ConfigClockSource(&htim2, &sClockSourceConfig) != HAL_OK)
  {
    Error_Handler();
  }
  if (HAL_TIM_PWM_Init(&htim2) != HAL_OK)
  {
    Error_Handler();
  }
  sMasterConfig.MasterOutputTrigger = TIM_TRGO_RESET;
  sMasterConfig.MasterSlaveMode = TIM_MASTERSLAVEMODE_DISABLE;
  if (HAL_TIMEx_MasterConfigSynchronization(&htim2, &sMasterConfig) != HAL_OK)
  {
    Error_Handler();
  }
  sConfigOC.OCMode = TIM_OCMODE_PWM1;
  sConfigOC.Pulse = 0;
  sConfigOC.OCPolarity = TIM_OCPOLARITY_HIGH;
  sConfigOC.OCFastMode = TIM_OCFAST_DISABLE;
  if (HAL_TIM_PWM_ConfigChannel(&htim2, &sConfigOC, TIM_CHANNEL_3) != HAL_OK)
  {
    Error_Handler();
  }
  HAL_TIM_MspPostInit(&htim2);

}

static void MX_TIM3_Init(void)
{

  /* USER CODE BEGIN TIM3_Init 0 */
  // Used to wait for MUX transition delay before starting ADC conversions
  // Timer clock 250mhz
  // MUX transition time at 5V max 33ns, 3.3V max 25ns
  // One timer tick - 1/(250*10^6) = 4ns
  // Worst case transition time 33ns - 33/4 = 8.25ticks. Rounding up means timer period 9

  // Data from TMUX1208PWR datasheet

  /* USER CODE END TIM3_Init 0 */

  TIM_ClockConfigTypeDef sClockSourceConfig = {0};
  TIM_MasterConfigTypeDef sMasterConfig = {0};

  htim3.Instance = TIM3;
  htim3.Init.Prescaler = 0;
  htim3.Init.CounterMode = TIM_COUNTERMODE_UP;
  htim3.Init.Period = 9;
  htim3.Init.ClockDivision = TIM_CLOCKDIVISION_DIV1;
  htim3.Init.AutoReloadPreload = TIM_AUTORELOAD_PRELOAD_DISABLE;
  if (HAL_TIM_Base_Init(&htim3) != HAL_OK)
  {
    Error_Handler();
  }
  sClockSourceConfig.ClockSource = TIM_CLOCKSOURCE_INTERNAL;
  if (HAL_TIM_ConfigClockSource(&htim3, &sClockSourceConfig) != HAL_OK)
  {
    Error_Handler();
  }
  if (HAL_TIM_OnePulse_Init(&htim3, TIM_OPMODE_SINGLE) != HAL_OK)
  {
    Error_Handler();
  }
  sMasterConfig.MasterOutputTrigger = TIM_TRGO_UPDATE;
  sMasterConfig.MasterSlaveMode = TIM_MASTERSLAVEMODE_DISABLE;
  if (HAL_TIMEx_MasterConfigSynchronization(&htim3, &sMasterConfig) != HAL_OK)
  {
    Error_Handler();
  }

}

static void MX_UART8_Init(void)
{

  LL_USART_InitTypeDef UART_InitStruct = {0};

  LL_GPIO_InitTypeDef GPIO_InitStruct = {0};
  RCC_PeriphCLKInitTypeDef PeriphClkInitStruct = {0};

  /** Initializes the peripherals clock
  */
  PeriphClkInitStruct.PeriphClockSelection = RCC_PERIPHCLK_UART8;
  PeriphClkInitStruct.Uart8ClockSelection = RCC_UART8CLKSOURCE_PCLK1;
  if (HAL_RCCEx_PeriphCLKConfig(&PeriphClkInitStruct) != HAL_OK)
  {
    Error_Handler();
  }

  /* Peripheral clock enable */
  LL_APB1_GRP1_EnableClock(LL_APB1_GRP1_PERIPH_UART8);

  LL_AHB2_GRP1_EnableClock(LL_AHB2_GRP1_PERIPH_GPIOE);
  /**UART8 GPIO Configuration
  PE2   ------> UART8_TX
  PE0   ------> UART8_RX
  */
  GPIO_InitStruct.Pin = RS485_TX_Pin|RS485_RX_Pin;
  GPIO_InitStruct.Mode = LL_GPIO_MODE_ALTERNATE;
  GPIO_InitStruct.Speed = LL_GPIO_SPEED_FREQ_LOW;
  GPIO_InitStruct.OutputType = LL_GPIO_OUTPUT_PUSHPULL;
  GPIO_InitStruct.Pull = LL_GPIO_PULL_UP;
  GPIO_InitStruct.Alternate = LL_GPIO_AF_8;
  LL_GPIO_Init(GPIOE, &GPIO_InitStruct);

  /* UART8 interrupt Init */
  NVIC_SetPriority(UART8_IRQn, NVIC_EncodePriority(NVIC_GetPriorityGrouping(),6, 0));
  NVIC_EnableIRQ(UART8_IRQn);

  UART_InitStruct.BaudRate = 115200;
  UART_InitStruct.DataWidth = LL_USART_DATAWIDTH_8B;
  UART_InitStruct.StopBits = LL_USART_STOPBITS_1;
  UART_InitStruct.Parity = LL_USART_PARITY_NONE;
  UART_InitStruct.TransferDirection = LL_USART_DIRECTION_TX_RX;
  UART_InitStruct.HardwareFlowControl = LL_USART_HWCONTROL_NONE;
  UART_InitStruct.OverSampling = LL_USART_OVERSAMPLING_16;
  LL_USART_Init(UART8, &UART_InitStruct);
  LL_USART_EnableOneBitSamp(UART8);
  LL_USART_ConfigAsyncMode(UART8);
  LL_USART_Enable(UART8);

}

static void MX_WWDG_Init(void)
{

  /* USER CODE BEGIN WWDG_Init 1 */

  /*
   * Watchdog clockspeed is (PCLK/4096)/prescaler. (250Mhz/4096)/64 = 953.67431640625 hz = 1.048576 ms
   *
   * Watchdog window, after which watchdog can be refreshed, starts below Window count, which is 94
   * Meaning, as countdown starts from 127, it takes (127-94)*1.048576 = 34.603008ms to reach the reset window
   *
   * Device will reset itself when counter reaches 63, meaning in (127-64)*1.048576 = 66.060288 ms
   */

  /* USER CODE END WWDG_Init 1 */
  hwwdg.Instance = WWDG;
  hwwdg.Init.Prescaler = WWDG_PRESCALER_64;
  hwwdg.Init.Window = 94;
  hwwdg.Init.Counter = 127;
  hwwdg.Init.EWIMode = WWDG_EWI_ENABLE;
  if (HAL_WWDG_Init(&hwwdg) != HAL_OK)
  {
    Error_Handler();
  }
  /* USER CODE BEGIN WWDG_Init 2 */
  watchdog_take_wwdg_init_time();
  /* USER CODE END WWDG_Init 2 */

}

static void MX_GPIO_Init(void)
{
  LL_GPIO_InitTypeDef GPIO_InitStruct = {0};

  /* GPIO Ports Clock Enable */
  LL_AHB2_GRP1_EnableClock(LL_AHB2_GRP1_PERIPH_GPIOE);
  LL_AHB2_GRP1_EnableClock(LL_AHB2_GRP1_PERIPH_GPIOC);
  LL_AHB2_GRP1_EnableClock(LL_AHB2_GRP1_PERIPH_GPIOH);
  LL_AHB2_GRP1_EnableClock(LL_AHB2_GRP1_PERIPH_GPIOA);
  LL_AHB2_GRP1_EnableClock(LL_AHB2_GRP1_PERIPH_GPIOB);
  LL_AHB2_GRP1_EnableClock(LL_AHB2_GRP1_PERIPH_GPIOD);

  /**/
  LL_GPIO_ResetOutputPin(GPIOE, OUT_I_EN_Pin|OUT_I_A0_Pin|OUT_I_A1_Pin|OUT_I_A2_Pin
                          |OUT_V_EN_Pin|OUT_V_A0_Pin|OUT_V_A1_Pin|OUT_V_A2_Pin);

  /**/
  LL_GPIO_ResetOutputPin(GPIOA, ETH_nRST_Pin|OUT_8_EN_Pin);

  /**/
  LL_GPIO_ResetOutputPin(GPIOC, OUT_7_EN_Pin|OUT_6_EN_Pin|OUT_5_EN_Pin);

  /**/
  LL_GPIO_ResetOutputPin(GPIOD, OUT_4_EN_Pin|OUT_3_EN_Pin|OUT_2_EN_Pin|OUT_1_EN_Pin);

  /**/
  LL_GPIO_ResetOutputPin(GPIOB, RS485_DE_Pin|RS485_RE_Pin);

  /**/
  LL_GPIO_SetOutputPin(LED_PWR_EN_GPIO_Port, LED_PWR_EN_Pin);

  /**/
  GPIO_InitStruct.Pin = OUT_I_EN_Pin|OUT_I_A0_Pin|OUT_I_A1_Pin|OUT_I_A2_Pin
                          |OUT_V_EN_Pin|OUT_V_A0_Pin|OUT_V_A1_Pin|OUT_V_A2_Pin;
  GPIO_InitStruct.Mode = LL_GPIO_MODE_OUTPUT;
  GPIO_InitStruct.Speed = LL_GPIO_SPEED_FREQ_LOW;
  GPIO_InitStruct.OutputType = LL_GPIO_OUTPUT_PUSHPULL;
  GPIO_InitStruct.Pull = LL_GPIO_PULL_DOWN;
  LL_GPIO_Init(GPIOE, &GPIO_InitStruct);

  /**/
  GPIO_InitStruct.Pin = LL_GPIO_PIN_13|LL_GPIO_PIN_14|LL_GPIO_PIN_15|LL_GPIO_PIN_0
                          |LL_GPIO_PIN_2|LL_GPIO_PIN_6|LL_GPIO_PIN_7|LL_GPIO_PIN_8
                          |LL_GPIO_PIN_9;
  GPIO_InitStruct.Mode = LL_GPIO_MODE_ANALOG;
  GPIO_InitStruct.Pull = LL_GPIO_PULL_NO;
  LL_GPIO_Init(GPIOC, &GPIO_InitStruct);

  /**/
  GPIO_InitStruct.Pin = ETH_nRST_Pin|OUT_8_EN_Pin;
  GPIO_InitStruct.Mode = LL_GPIO_MODE_OUTPUT;
  GPIO_InitStruct.Speed = LL_GPIO_SPEED_FREQ_LOW;
  GPIO_InitStruct.OutputType = LL_GPIO_OUTPUT_PUSHPULL;
  GPIO_InitStruct.Pull = LL_GPIO_PULL_NO;
  LL_GPIO_Init(GPIOA, &GPIO_InitStruct);

  /**/
  GPIO_InitStruct.Pin = LL_GPIO_PIN_3|LL_GPIO_PIN_4|LL_GPIO_PIN_6|LL_GPIO_PIN_8
                          |LL_GPIO_PIN_9|LL_GPIO_PIN_10|LL_GPIO_PIN_11|LL_GPIO_PIN_12;
  GPIO_InitStruct.Mode = LL_GPIO_MODE_ANALOG;
  GPIO_InitStruct.Pull = LL_GPIO_PULL_NO;
  LL_GPIO_Init(GPIOA, &GPIO_InitStruct);

  /**/
  GPIO_InitStruct.Pin = LL_GPIO_PIN_2|LL_GPIO_PIN_13|LL_GPIO_PIN_14;
  GPIO_InitStruct.Mode = LL_GPIO_MODE_ANALOG;
  GPIO_InitStruct.Pull = LL_GPIO_PULL_NO;
  LL_GPIO_Init(GPIOB, &GPIO_InitStruct);

  /**/
  GPIO_InitStruct.Pin = LL_GPIO_PIN_11|LL_GPIO_PIN_12|LL_GPIO_PIN_14|LL_GPIO_PIN_15;
  GPIO_InitStruct.Mode = LL_GPIO_MODE_ANALOG;
  GPIO_InitStruct.Pull = LL_GPIO_PULL_NO;
  LL_GPIO_Init(GPIOE, &GPIO_InitStruct);

  /**/
  GPIO_InitStruct.Pin = LED_PWR_EN_Pin;
  GPIO_InitStruct.Mode = LL_GPIO_MODE_OUTPUT;
  GPIO_InitStruct.Speed = LL_GPIO_SPEED_FREQ_LOW;
  GPIO_InitStruct.OutputType = LL_GPIO_OUTPUT_PUSHPULL;
  GPIO_InitStruct.Pull = LL_GPIO_PULL_NO;
  LL_GPIO_Init(LED_PWR_EN_GPIO_Port, &GPIO_InitStruct);

  /**/
  GPIO_InitStruct.Pin = BTN_8_Pin|BTN_7_Pin|BTN_6_Pin|BTN_5_Pin
                          |BTN_4_Pin|BTN_3_Pin|BTN_2_Pin|BTN_1_Pin
                          |SW_1_Pin|SW_2_Pin|SW_3_Pin;
  GPIO_InitStruct.Mode = LL_GPIO_MODE_INPUT;
  GPIO_InitStruct.Pull = LL_GPIO_PULL_DOWN;
  LL_GPIO_Init(GPIOD, &GPIO_InitStruct);

  /**/
  GPIO_InitStruct.Pin = OUT_7_EN_Pin|OUT_6_EN_Pin|OUT_5_EN_Pin;
  GPIO_InitStruct.Mode = LL_GPIO_MODE_OUTPUT;
  GPIO_InitStruct.Speed = LL_GPIO_SPEED_FREQ_LOW;
  GPIO_InitStruct.OutputType = LL_GPIO_OUTPUT_PUSHPULL;
  GPIO_InitStruct.Pull = LL_GPIO_PULL_NO;
  LL_GPIO_Init(GPIOC, &GPIO_InitStruct);

  /**/
  GPIO_InitStruct.Pin = OUT_4_EN_Pin|OUT_3_EN_Pin|OUT_2_EN_Pin|OUT_1_EN_Pin;
  GPIO_InitStruct.Mode = LL_GPIO_MODE_OUTPUT;
  GPIO_InitStruct.Speed = LL_GPIO_SPEED_FREQ_LOW;
  GPIO_InitStruct.OutputType = LL_GPIO_OUTPUT_PUSHPULL;
  GPIO_InitStruct.Pull = LL_GPIO_PULL_NO;
  LL_GPIO_Init(GPIOD, &GPIO_InitStruct);

  /**/
  GPIO_InitStruct.Pin = LL_GPIO_PIN_4;
  GPIO_InitStruct.Mode = LL_GPIO_MODE_ANALOG;
  GPIO_InitStruct.Pull = LL_GPIO_PULL_NO;
  LL_GPIO_Init(GPIOD, &GPIO_InitStruct);

  /**/
  GPIO_InitStruct.Pin = SW_4_Pin|SW_5_Pin|SW_6_Pin|SW_7_Pin
                          |SW_8_Pin;
  GPIO_InitStruct.Mode = LL_GPIO_MODE_INPUT;
  GPIO_InitStruct.Pull = LL_GPIO_PULL_DOWN;
  LL_GPIO_Init(GPIOB, &GPIO_InitStruct);

  /**/
  GPIO_InitStruct.Pin = RS485_DE_Pin|RS485_RE_Pin;
  GPIO_InitStruct.Mode = LL_GPIO_MODE_OUTPUT;
  GPIO_InitStruct.Speed = LL_GPIO_SPEED_FREQ_LOW;
  GPIO_InitStruct.OutputType = LL_GPIO_OUTPUT_PUSHPULL;
  GPIO_InitStruct.Pull = LL_GPIO_PULL_NO;
  LL_GPIO_Init(GPIOB, &GPIO_InitStruct);

}

 /* MPU Configuration */

void MPU_Config(void)
{
  MPU_Region_InitTypeDef MPU_InitStruct = {0};
  MPU_Attributes_InitTypeDef MPU_AttributesInit = {0};

  /* Disables the MPU */
  HAL_MPU_Disable();

  /** Initializes and configures the Region and the memory to be protected
  */
  MPU_InitStruct.Enable = MPU_REGION_ENABLE;
  MPU_InitStruct.Number = MPU_REGION_NUMBER0;
  MPU_InitStruct.BaseAddress = 0x08fff800;
  MPU_InitStruct.LimitAddress = 0x08fff900;
  MPU_InitStruct.AttributesIndex = MPU_ATTRIBUTES_NUMBER0;
  MPU_InitStruct.AccessPermission = MPU_REGION_ALL_RO;
  MPU_InitStruct.DisableExec = MPU_INSTRUCTION_ACCESS_DISABLE;
  MPU_InitStruct.IsShareable = MPU_ACCESS_OUTER_SHAREABLE;

  HAL_MPU_ConfigRegion(&MPU_InitStruct);
  MPU_AttributesInit.Number = MPU_REGION_NUMBER0;
  MPU_AttributesInit.Attributes = MPU_DEVICE_nGnRnE | MPU_WRITE_THROUGH
                              | MPU_TRANSIENT | MPU_R_ALLOCATE;

  HAL_MPU_ConfigMemoryAttributes(&MPU_AttributesInit);

  /** Initializes and configures the Region and the memory to be protected
  */
  MPU_InitStruct.Number = MPU_REGION_NUMBER1;
  MPU_InitStruct.BaseAddress = 0x9000000;
  MPU_InitStruct.LimitAddress = 0x9017FFF;
  MPU_InitStruct.AttributesIndex = MPU_ATTRIBUTES_NUMBER1;
  MPU_InitStruct.AccessPermission = MPU_REGION_ALL_RW;
  MPU_InitStruct.IsShareable = MPU_ACCESS_NOT_SHAREABLE;

  HAL_MPU_ConfigRegion(&MPU_InitStruct);
  MPU_AttributesInit.Number = MPU_REGION_NUMBER1;
  MPU_AttributesInit.Attributes = MPU_DEVICE_nGnRnE | MPU_WRITE_THROUGH
                              | MPU_NON_TRANSIENT | MPU_NO_ALLOCATE;

  HAL_MPU_ConfigMemoryAttributes(&MPU_AttributesInit);
  /* Enables the MPU */
  HAL_MPU_Enable(MPU_PRIVILEGED_DEFAULT);

}

void HAL_TIM_PeriodElapsedCallback(TIM_HandleTypeDef *htim)
{
  if (htim->Instance == TIM6) {
    HAL_IncTick();
  }
}

void Error_Handler(void)
{
  /* USER CODE BEGIN Error_Handler_Debug */
  /* User can add his own implementation to report the HAL error return state */
  __disable_irq();
  ULOG_CRITICAL("ErrorHandler entered.");
  while (1)
  {
  }
  /* USER CODE END Error_Handler_Debug */
}

#ifdef  USE_FULL_ASSERT
/**
  * @brief  Reports the name of the source file and the source line number
  *         where the assert_param error has occurred.
  * @param  file: pointer to the source file name
  * @param  line: assert_param error line source number
  * @retval None
  */
void assert_failed(uint8_t *file, uint32_t line)
{
  /* USER CODE BEGIN 6 */
  /* User can add his own implementation to report the file name and line number,
     ex: printf("Wrong parameters value: file %s on line %d\r\n", file, line) */
  UNUSED(file);
  UNUSED(line);
  /* USER CODE END 6 */
}
#endif /* USE_FULL_ASSERT */
